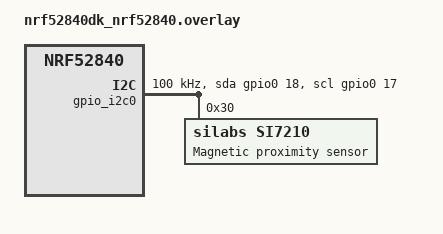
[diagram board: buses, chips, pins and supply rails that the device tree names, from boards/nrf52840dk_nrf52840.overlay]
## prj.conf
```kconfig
# nothing here
CONFIG_NEWLIB_LIBC=y
CONFIG_NEWLIB_LIBC_NANO=n
CONFIG_FILE_SYSTEM=y
CONFIG_FILE_SYSTEM_LITTLEFS=y
CONFIG_FLASH=y
CONFIG_FLASH_MAP=y
CONFIG_FLASH_PAGE_LAYOUT=y
CONFIG_POSIX_API=y
CONFIG_POSIX_FS=y
```

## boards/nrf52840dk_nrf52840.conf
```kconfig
CONFIG_I2C=y
CONFIG_I2C_GPIO=y
CONFIG_SENSOR=y
CONFIG_PM_DEVICE=y
CONFIG_SI7210=y
```

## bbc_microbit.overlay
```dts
&uart0 {
	compatible = "nordic,nrf-uart";
	current-speed = <9600>;
	tx-pin = <2>;
	rx-pin = <16>;
	status = "ok";
};
```

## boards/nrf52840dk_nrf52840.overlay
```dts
/ {
	gpio_i2c0 {
		compatible = "gpio-i2c";
		status = "okay";
		clock-frequency = <I2C_BITRATE_STANDARD>;
		sda-gpios = <&gpio0 18 (GPIO_OPEN_DRAIN)>;
		scl-gpios = <&gpio0 17 (GPIO_OPEN_DRAIN)>;
		label = "GPIO_I2C_0";
		#address-cells = <1>;
		#size-cells = <0>;

		si7210:si7210@30 {
			compatible = "silabs,si7210";
			reg = <0x30>;
			label = "Magnetic proximity sensor";
			status = "okay";
		};
	};
};
```

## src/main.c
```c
/*
 * Copyright (c) 2012-2014 Wind River Systems, Inc.
 *
 * SPDX-License-Identifier: Apache-2.0
 */

#include <stdio.h>

int main(void)
{
	printf("Hello World! %s\n", CONFIG_BOARD);
	FILE *f = fopen("posix.txt","a");
	return 0;
}
```
